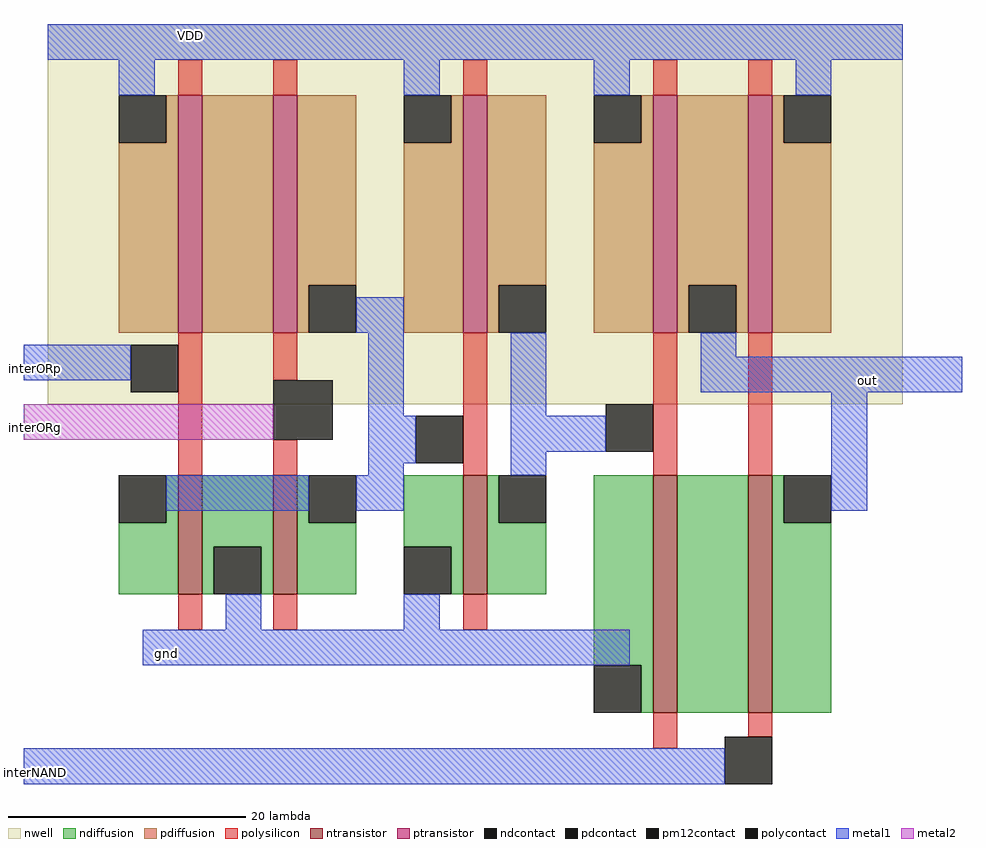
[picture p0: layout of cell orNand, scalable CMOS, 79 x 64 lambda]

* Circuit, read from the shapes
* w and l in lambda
.subckt orNand VDD gnd interNAND interORg interORp out
M1 gnd interORp n1 VSUBS nfet w=10 l=2
M2 n1 interORg gnd VSUBS nfet w=10 l=2
M3 n2 n1 gnd VSUBS nfet w=10 l=2
M4 n3 n2 gnd VSUBS nfet w=20 l=2
M5 out interNAND n3 VSUBS nfet w=20 l=2
M6 n4 interORp VDD n5 pfet w=20 l=2
M7 n1 interORg n4 n5 pfet w=20 l=2
M8 n2 n1 VDD n5 pfet w=20 l=2
M9 out n2 VDD n5 pfet w=20 l=2
M10 VDD interNAND out n5 pfet w=20 l=2
.ends

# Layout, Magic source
magic
tech scmos
<< nwell >>
rect -196 -47 -124 -15
<< ntransistor >>
rect -185 -63 -183 -53
rect -177 -63 -175 -53
rect -161 -63 -159 -53
rect -145 -73 -143 -53
rect -137 -73 -135 -53
<< ptransistor >>
rect -185 -41 -183 -21
rect -177 -41 -175 -21
rect -161 -41 -159 -21
rect -145 -41 -143 -21
rect -137 -41 -135 -21
<< ndiffusion >>
rect -186 -57 -185 -53
rect -190 -63 -185 -57
rect -183 -59 -177 -53
rect -183 -63 -182 -59
rect -178 -63 -177 -59
rect -175 -57 -174 -53
rect -175 -63 -170 -57
rect -166 -59 -161 -53
rect -162 -63 -161 -59
rect -159 -57 -158 -53
rect -159 -63 -154 -57
rect -150 -69 -145 -53
rect -146 -73 -145 -69
rect -143 -73 -137 -53
rect -135 -57 -134 -53
rect -135 -73 -130 -57
<< pdiffusion >>
rect -186 -25 -185 -21
rect -190 -41 -185 -25
rect -183 -41 -177 -21
rect -175 -37 -170 -21
rect -175 -41 -174 -37
rect -162 -25 -161 -21
rect -166 -41 -161 -25
rect -159 -37 -154 -21
rect -159 -41 -158 -37
rect -146 -25 -145 -21
rect -150 -41 -145 -25
rect -143 -37 -137 -21
rect -143 -41 -142 -37
rect -138 -41 -137 -37
rect -135 -25 -134 -21
rect -135 -41 -130 -25
<< ndcontact >>
rect -190 -57 -186 -53
rect -182 -63 -178 -59
rect -174 -57 -170 -53
rect -166 -63 -162 -59
rect -158 -57 -154 -53
rect -150 -73 -146 -69
rect -134 -57 -130 -53
<< pdcontact >>
rect -190 -25 -186 -21
rect -174 -41 -170 -37
rect -166 -25 -162 -21
rect -158 -41 -154 -37
rect -150 -25 -146 -21
rect -142 -41 -138 -37
rect -134 -25 -130 -21
<< polysilicon >>
rect -185 -21 -183 -18
rect -177 -21 -175 -18
rect -161 -21 -159 -18
rect -145 -21 -143 -18
rect -137 -21 -135 -18
rect -185 -53 -183 -41
rect -177 -45 -175 -41
rect -177 -53 -175 -50
rect -161 -53 -159 -41
rect -145 -53 -143 -41
rect -137 -53 -135 -41
rect -185 -66 -183 -63
rect -177 -66 -175 -63
rect -161 -66 -159 -63
rect -145 -76 -143 -73
rect -137 -75 -135 -73
<< polycontact >>
rect -189 -46 -185 -42
rect -165 -52 -161 -48
rect -149 -51 -145 -47
rect -139 -79 -135 -75
<< metal1 >>
rect -196 -18 -124 -15
rect -190 -21 -187 -18
rect -166 -21 -163 -18
rect -150 -21 -147 -18
rect -133 -21 -130 -18
rect -170 -41 -166 -38
rect -198 -45 -189 -42
rect -169 -48 -166 -41
rect -157 -48 -154 -41
rect -141 -43 -138 -41
rect -141 -46 -119 -43
rect -169 -52 -165 -48
rect -157 -51 -149 -48
rect -169 -53 -166 -52
rect -157 -53 -154 -51
rect -186 -56 -174 -53
rect -170 -56 -166 -53
rect -130 -56 -127 -46
rect -181 -66 -178 -63
rect -166 -66 -163 -63
rect -188 -69 -147 -66
rect -198 -79 -139 -76
<< pm12contact >>
rect -177 -50 -172 -45
<< metal2 >>
rect -198 -50 -177 -47
<< labels >>
rlabel metal1 -127 -45 -127 -45 1 out
rlabel metal1 -184 -16 -184 -16 5 VDD
rlabel metal1 -186 -68 -186 -68 1 gnd
rlabel metal1 -197 -78 -197 -78 3 interNAND
rlabel metal2 -197 -49 -197 -49 3 interORg
rlabel metal1 -197 -44 -197 -44 3 interORp
<< end >>
